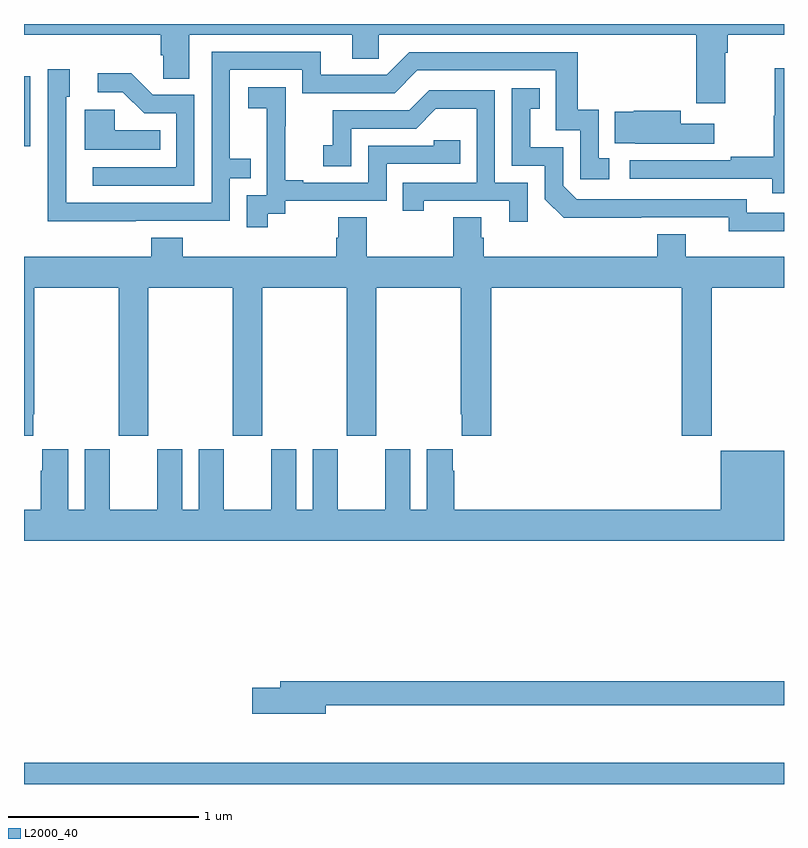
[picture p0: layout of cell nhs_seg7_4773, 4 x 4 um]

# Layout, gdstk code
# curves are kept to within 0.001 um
import gdstk
lib = gdstk.Library(unit=1e-6, precision=1e-09)
def R(c, l, rs):  # rectangles x0, y0, x1, y1
    for r in rs: c.add(gdstk.rectangle(r[:2], r[2:], *l))
def P(c, l, *ps):  # polygons
    for p in ps: c.add(gdstk.Polygon(p, *l))
L2000_40 = (2000, 40)

nhs_seg7_4773 = lib.new_cell('nhs_seg7_4773')
R(nhs_seg7_4773, L2000_40, [(411,1002,415,1002.112), (411,1005.357,411.033,1005.726)])
P(nhs_seg7_4773, L2000_40, [(414.691,1005.848),(414.704,1005.848),(414.704,1005.944),(415,1005.944),(415,1006),(411,1006),(411,1005.944),(411.719,1005.944),(411.719,1005.835),(411.732,1005.835),(411.732,1005.712),(411.871,1005.712),(411.871,1005.944),(412.727,1005.944),(412.727,1005.817),(412.866,1005.817),(412.866,1005.944),(414.539,1005.944),(414.539,1005.582),(414.691,1005.582)],
  [(411.587,1004.964),(412.083,1004.964),(412.083,1005.189),(412.193,1005.189),(412.193,1005.29),(412.083,1005.29),(412.083,1005.759),(412.464,1005.759),(412.464,1005.636),(412.95,1005.636),(413.07,1005.756),(413.799,1005.756),(413.799,1005.441),(413.928,1005.441),(413.928,1005.183),(414.079,1005.183),(414.079,1005.294),(414.024,1005.294),(414.024,1005.55),(413.915,1005.55),(413.915,1005.852),(413.028,1005.852),(412.908,1005.732),(412.561,1005.732),(412.561,1005.855),(411.987,1005.855),(411.987,1005.06),(411.223,1005.06),(411.222,1005.618),(411.241,1005.618),(411.241,1005.763),(411.126,1005.763),(411.126,1005.269),(411.124,1005.269),(411.124,1004.963)],
  [(415,1005.766),(414.952,1005.766),(414.952,1005.516),(414.945,1005.516),(414.945,1005.302),(414.721,1005.302),(414.721,1005.282),(414.189,1005.282),(414.189,1005.186),(414.937,1005.186),(414.937,1005.108),(415,1005.108)],
  [(411.897,1005.627),(411.678,1005.627),(411.565,1005.74),(411.387,1005.74),(411.387,1005.642),(411.521,1005.642),(411.632,1005.531),(411.801,1005.531),(411.801,1005.246),(411.363,1005.246),(411.363,1005.15),(411.897,1005.15)],
  [(412.282,1005.001),(412.374,1005.001),(412.374,1005.069),(412.908,1005.069),(412.908,1005.264),(413.297,1005.264),(413.297,1005.387),(413.157,1005.387),(413.157,1005.36),(412.812,1005.36),(412.812,1005.165),(412.471,1005.165),(412.471,1005.178),(412.376,1005.178),(412.376,1005.461),(412.377,1005.461),(412.377,1005.667),(412.179,1005.667),(412.179,1005.557),(412.277,1005.557),(412.277,1005.329),(412.278,1005.329),(412.278,1005.099),(412.173,1005.099),(412.173,1004.931),(412.282,1004.931)],
  [(415,1005.006),(414.804,1005.006),(414.804,1005.078),(413.91,1005.078),(413.838,1005.15),(413.838,1005.351),(413.665,1005.351),(413.665,1005.555),(413.714,1005.555),(413.714,1005.661),(413.568,1005.661),(413.568,1005.255),(413.742,1005.255),(413.742,1005.078),(413.84,1004.981),(414.708,1004.982),(414.708,1004.909),(415,1004.909)],
  [(413.652,1005.165),(413.478,1005.165),(413.478,1005.651),(413.132,1005.651),(413.027,1005.546),(412.624,1005.546),(412.624,1005.361),(412.575,1005.361),(412.575,1005.252),(412.722,1005.252),(412.722,1005.45),(413.064,1005.45),(413.168,1005.554),(413.382,1005.554),(413.382,1005.165),(412.993,1005.165),(412.993,1005.018),(413.104,1005.018),(413.104,1005.069),(413.555,1005.069),(413.555,1004.958),(413.652,1004.958)],
  [(411.716,1005.442),(411.477,1005.442),(411.477,1005.55),(411.32,1005.55),(411.32,1005.338),(411.716,1005.338)],
  [(414.634,1005.475),(414.457,1005.475),(414.457,1005.544),(414.21,1005.544),(414.21,1005.537),(414.109,1005.537),(414.109,1005.373),(414.217,1005.373),(414.217,1005.371),(414.634,1005.371)],
  [(411.049,1003.945),(411.054,1003.945),(411.054,1004.612),(411.499,1004.612),(411.499,1003.833),(411.654,1003.833),(411.654,1004.612),(412.099,1004.612),(412.099,1003.833),(412.254,1003.833),(412.254,1004.612),(412.699,1004.612),(412.699,1003.833),(412.854,1003.833),(412.854,1004.612),(413.299,1004.612),(413.299,1003.945),(413.303,1003.945),(413.303,1003.833),(413.459,1003.833),(413.459,1004.612),(414.461,1004.612),(414.461,1003.833),(414.621,1003.833),(414.621,1004.612),(415,1004.612),(415,1004.776),(414.484,1004.776),(414.484,1004.893),(414.332,1004.893),(414.332,1004.776),(413.42,1004.776),(413.42,1004.874),(413.407,1004.874),(413.407,1004.984),(413.26,1004.984),(413.26,1004.776),(412.803,1004.776),(412.803,1004.984),(412.655,1004.984),(412.655,1004.874),(412.643,1004.874),(412.643,1004.776),(411.836,1004.776),(411.836,1004.875),(411.671,1004.875),(411.671,1004.776),(411,1004.776),(411,1003.833),(411.049,1003.833)],
  [(415,1003.753),(414.668,1003.753),(414.668,1003.444),(413.264,1003.444),(413.264,1003.649),(413.257,1003.649),(413.257,1003.762),(413.12,1003.762),(413.12,1003.444),(413.032,1003.444),(413.032,1003.762),(412.901,1003.762),(412.901,1003.444),(412.651,1003.444),(412.651,1003.762),(412.52,1003.762),(412.52,1003.444),(412.432,1003.444),(412.432,1003.762),(412.301,1003.762),(412.301,1003.444),(412.051,1003.444),(412.051,1003.762),(411.92,1003.762),(411.92,1003.444),(411.832,1003.444),(411.832,1003.762),(411.701,1003.762),(411.701,1003.444),(411.451,1003.444),(411.451,1003.762),(411.32,1003.762),(411.32,1003.444),(411.232,1003.444),(411.232,1003.762),(411.095,1003.762),(411.095,1003.649),(411.089,1003.649),(411.089,1003.444),(411,1003.444),(411,1003.28),(415,1003.28)],
  [(412.588,1002.414),(415,1002.414),(415,1002.542),(412.349,1002.542),(412.349,1002.506),(412.2,1002.506),(412.2,1002.371),(412.588,1002.371)])

lib.write_gds('nhs_seg7_4773.gds')
